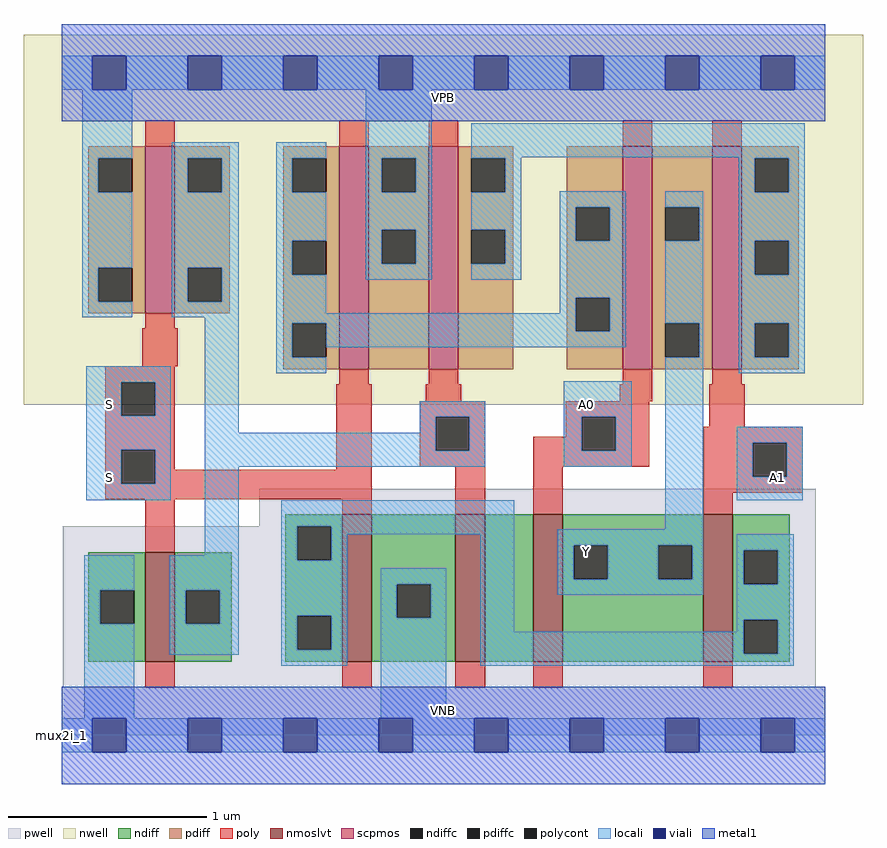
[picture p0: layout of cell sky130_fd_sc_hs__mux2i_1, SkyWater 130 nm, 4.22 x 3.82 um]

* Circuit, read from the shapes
.subckt sky130_fd_sc_hs__mux2i_1 A0 A1 S VGND VNB VPB VPWR Y
XM1 n1 S VGND VNB sky130_fd_pr__nfet_01v8_lvt w=0.55 l=0.15
XM2 VGND S n2 VNB sky130_fd_pr__nfet_01v8_lvt w=0.74 l=0.15
XM3 n3 n1 VGND VNB sky130_fd_pr__nfet_01v8_lvt w=0.74 l=0.15
XM4 Y A0 n3 VNB sky130_fd_pr__nfet_01v8_lvt w=0.74 l=0.15
XM5 n2 A1 Y VNB sky130_fd_pr__nfet_01v8_lvt w=0.74 l=0.15
XM6 n1 S VPWR VPB sky130_fd_pr__pfet_01v8 w=0.84 l=0.15
XM7 VPWR S n4 VPB sky130_fd_pr__pfet_01v8 w=1.12 l=0.15
XM8 n5 n1 VPWR VPB sky130_fd_pr__pfet_01v8 w=1.12 l=0.15
XM9 Y A0 n4 VPB sky130_fd_pr__pfet_01v8 w=1.12 l=0.15
XM10 n5 A1 Y VPB sky130_fd_pr__pfet_01v8 w=1.12 l=0.15
.ends

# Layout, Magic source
magic
tech sky130A
magscale 1 2
<< nwell >>
rect -38 332 806 704
<< pwell >>
rect 199 210 758 248
rect 1 49 758 210
rect 0 0 768 49
<< scpmos >>
rect 84 424 114 592
rect 279 368 309 592
rect 369 368 399 592
rect 564 368 594 592
rect 654 368 684 592
<< nmoslvt >>
rect 84 74 114 184
rect 282 74 312 222
rect 396 74 426 222
rect 474 74 504 222
rect 645 74 675 222
<< ndiff >>
rect 225 210 282 222
rect 27 146 84 184
rect 27 112 39 146
rect 73 112 84 146
rect 27 74 84 112
rect 114 146 171 184
rect 114 112 125 146
rect 159 112 171 146
rect 114 74 171 112
rect 225 176 237 210
rect 271 176 282 210
rect 225 120 282 176
rect 225 86 237 120
rect 271 86 282 120
rect 225 74 282 86
rect 312 152 396 222
rect 312 118 337 152
rect 371 118 396 152
rect 312 74 396 118
rect 426 74 474 222
rect 504 191 645 222
rect 504 157 515 191
rect 549 157 600 191
rect 634 157 645 191
rect 504 74 645 157
rect 675 186 732 222
rect 675 152 686 186
rect 720 152 732 186
rect 675 116 732 152
rect 675 82 686 116
rect 720 82 732 116
rect 675 74 732 82
<< pdiff >>
rect 27 580 84 592
rect 27 546 37 580
rect 71 546 84 580
rect 27 470 84 546
rect 27 436 37 470
rect 71 436 84 470
rect 27 424 84 436
rect 114 580 169 592
rect 114 546 127 580
rect 161 546 169 580
rect 114 470 169 546
rect 114 436 127 470
rect 161 436 169 470
rect 114 424 169 436
rect 223 580 279 592
rect 223 546 232 580
rect 266 546 279 580
rect 223 497 279 546
rect 223 463 232 497
rect 266 463 279 497
rect 223 414 279 463
rect 223 380 232 414
rect 266 380 279 414
rect 223 368 279 380
rect 309 580 369 592
rect 309 546 322 580
rect 356 546 369 580
rect 309 508 369 546
rect 309 474 322 508
rect 356 474 369 508
rect 309 368 369 474
rect 399 580 454 592
rect 399 546 412 580
rect 446 546 454 580
rect 399 508 454 546
rect 399 474 412 508
rect 446 474 454 508
rect 399 368 454 474
rect 508 531 564 592
rect 508 497 517 531
rect 551 497 564 531
rect 508 440 564 497
rect 508 406 517 440
rect 551 406 564 440
rect 508 368 564 406
rect 594 531 654 592
rect 594 497 607 531
rect 641 497 654 531
rect 594 414 654 497
rect 594 380 607 414
rect 641 380 654 414
rect 594 368 654 380
rect 684 580 741 592
rect 684 546 697 580
rect 731 546 741 580
rect 684 497 741 546
rect 684 463 697 497
rect 731 463 741 497
rect 684 414 741 463
rect 684 380 697 414
rect 731 380 741 414
rect 684 368 741 380
<< ndiffc >>
rect 39 112 73 146
rect 125 112 159 146
rect 237 176 271 210
rect 237 86 271 120
rect 337 118 371 152
rect 515 157 549 191
rect 600 157 634 191
rect 686 152 720 186
rect 686 82 720 116
<< pdiffc >>
rect 37 546 71 580
rect 37 436 71 470
rect 127 546 161 580
rect 127 436 161 470
rect 232 546 266 580
rect 232 463 266 497
rect 232 380 266 414
rect 322 546 356 580
rect 322 474 356 508
rect 412 546 446 580
rect 412 474 446 508
rect 517 497 551 531
rect 517 406 551 440
rect 607 497 641 531
rect 607 380 641 414
rect 697 546 731 580
rect 697 463 731 497
rect 697 380 731 414
<< poly >>
rect 84 592 114 618
rect 279 592 309 618
rect 369 592 399 618
rect 564 592 594 618
rect 654 592 684 618
rect 84 409 114 424
rect 81 371 117 409
rect 44 355 114 371
rect 44 321 60 355
rect 94 321 114 355
rect 279 353 309 368
rect 369 353 399 368
rect 564 353 594 368
rect 654 353 684 368
rect 44 287 114 321
rect 44 253 60 287
rect 94 267 114 287
rect 276 267 312 353
rect 366 336 402 353
rect 561 336 594 353
rect 360 320 426 336
rect 360 286 376 320
rect 410 286 426 320
rect 507 320 591 336
rect 507 300 523 320
rect 360 270 426 286
rect 94 253 312 267
rect 44 237 312 253
rect 84 184 114 237
rect 282 222 312 237
rect 396 222 426 270
rect 474 286 523 300
rect 557 286 591 320
rect 651 310 687 353
rect 474 270 591 286
rect 645 294 745 310
rect 474 222 504 270
rect 645 260 695 294
rect 729 260 745 294
rect 645 244 745 260
rect 645 222 675 244
rect 84 48 114 74
rect 282 48 312 74
rect 396 48 426 74
rect 474 48 504 74
rect 645 48 675 74
<< polycont >>
rect 60 321 94 355
rect 60 253 94 287
rect 376 286 410 320
rect 523 286 557 320
rect 695 260 729 294
<< locali >>
rect 0 649 31 683
rect 65 649 127 683
rect 161 649 223 683
rect 257 649 319 683
rect 353 649 415 683
rect 449 649 511 683
rect 545 649 607 683
rect 641 649 703 683
rect 737 649 768 683
rect 21 580 71 649
rect 21 546 37 580
rect 21 470 71 546
rect 21 436 37 470
rect 21 420 71 436
rect 111 580 178 596
rect 111 546 127 580
rect 161 546 178 580
rect 111 470 178 546
rect 111 436 127 470
rect 161 436 178 470
rect 111 420 178 436
rect 25 355 110 371
rect 25 321 60 355
rect 94 321 110 355
rect 25 287 110 321
rect 25 253 60 287
rect 94 253 110 287
rect 25 236 110 253
rect 144 304 178 420
rect 216 580 266 596
rect 216 546 232 580
rect 216 497 266 546
rect 216 463 232 497
rect 216 424 266 463
rect 306 580 372 649
rect 306 546 322 580
rect 356 546 372 580
rect 306 508 372 546
rect 306 474 322 508
rect 356 474 372 508
rect 306 458 372 474
rect 412 581 747 615
rect 412 580 462 581
rect 446 546 462 580
rect 681 580 747 581
rect 412 508 462 546
rect 446 474 462 508
rect 412 458 462 474
rect 501 531 567 547
rect 501 497 517 531
rect 551 497 567 531
rect 501 440 567 497
rect 501 424 517 440
rect 216 414 517 424
rect 216 380 232 414
rect 266 406 517 414
rect 551 406 567 440
rect 266 390 567 406
rect 607 531 645 547
rect 641 497 645 531
rect 607 414 645 497
rect 216 364 266 380
rect 641 380 645 414
rect 360 320 426 336
rect 360 304 376 320
rect 144 286 376 304
rect 410 286 426 320
rect 144 270 426 286
rect 505 320 573 356
rect 505 286 523 320
rect 557 286 573 320
rect 505 270 573 286
rect 144 181 178 270
rect 23 146 73 181
rect 23 112 39 146
rect 23 17 73 112
rect 109 146 178 181
rect 109 112 125 146
rect 159 112 178 146
rect 109 81 178 112
rect 221 210 455 236
rect 221 176 237 210
rect 271 202 455 210
rect 607 207 645 380
rect 681 546 697 580
rect 731 546 747 580
rect 681 497 747 546
rect 681 463 697 497
rect 731 463 747 497
rect 681 414 747 463
rect 681 380 697 414
rect 731 380 747 414
rect 681 364 747 380
rect 679 294 745 310
rect 679 260 695 294
rect 729 260 745 294
rect 679 236 745 260
rect 271 176 287 202
rect 221 120 287 176
rect 221 86 237 120
rect 271 86 287 120
rect 221 70 287 86
rect 321 152 387 168
rect 321 118 337 152
rect 371 118 387 152
rect 321 17 387 118
rect 421 104 455 202
rect 499 191 645 207
rect 499 157 515 191
rect 549 157 600 191
rect 634 157 645 191
rect 499 141 645 157
rect 679 186 736 202
rect 679 152 686 186
rect 720 152 736 186
rect 679 116 736 152
rect 679 104 686 116
rect 421 82 686 104
rect 720 82 736 116
rect 421 70 736 82
rect 0 -17 31 17
rect 65 -17 127 17
rect 161 -17 223 17
rect 257 -17 319 17
rect 353 -17 415 17
rect 449 -17 511 17
rect 545 -17 607 17
rect 641 -17 703 17
rect 737 -17 768 17
<< viali >>
rect 31 649 65 683
rect 127 649 161 683
rect 223 649 257 683
rect 319 649 353 683
rect 415 649 449 683
rect 511 649 545 683
rect 607 649 641 683
rect 703 649 737 683
rect 31 -17 65 17
rect 127 -17 161 17
rect 223 -17 257 17
rect 319 -17 353 17
rect 415 -17 449 17
rect 511 -17 545 17
rect 607 -17 641 17
rect 703 -17 737 17
<< metal1 >>
rect 0 683 768 715
rect 0 649 31 683
rect 65 649 127 683
rect 161 649 223 683
rect 257 649 319 683
rect 353 649 415 683
rect 449 649 511 683
rect 545 649 607 683
rect 641 649 703 683
rect 737 649 768 683
rect 0 617 768 649
rect 0 17 768 49
rect 0 -17 31 17
rect 65 -17 127 17
rect 161 -17 223 17
rect 257 -17 319 17
rect 353 -17 415 17
rect 449 -17 511 17
rect 545 -17 607 17
rect 641 -17 703 17
rect 737 -17 768 17
rect 0 -49 768 -17
<< labels >>
rlabel comment s 0 0 0 0 4 mux2i_1
flabel pwell s 0 0 768 49 0 FreeSans 200 0 0 0 VNB
port 5 nsew ground bidirectional
flabel nwell s 0 617 768 666 0 FreeSans 200 0 0 0 VPB
port 6 nsew power bidirectional
flabel metal1 s 0 617 768 666 0 FreeSans 340 0 0 0 VPWR
port 7 nsew power bidirectional
flabel metal1 s 0 0 768 49 0 FreeSans 340 0 0 0 VGND
port 4 nsew ground bidirectional
flabel locali s 31 242 65 276 0 FreeSans 340 0 0 0 S
port 3 nsew signal input
flabel locali s 31 316 65 350 0 FreeSans 340 0 0 0 S
port 3 nsew signal input
flabel locali s 703 242 737 276 0 FreeSans 340 0 0 0 A1
port 2 nsew signal input
flabel locali s 511 316 545 350 0 FreeSans 340 0 0 0 A0
port 1 nsew signal input
flabel locali s 511 168 545 202 0 FreeSans 340 0 0 0 Y
port 8 nsew signal output
<< properties >>
string LEFsite unit
string LEFclass CORE
string FIXED_BBOX 0 0 768 666
string GDS_FILE $PDKPATH/libs.ref/sky130_fd_sc_hs/gds/sky130_fd_sc_hs.gds
string LEFsymmetry X Y
string GDS_END 1793318
string GDS_START 1786338
<< end >>
